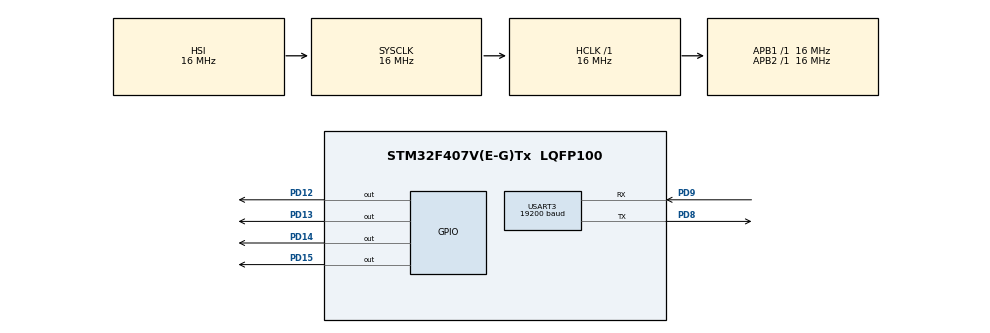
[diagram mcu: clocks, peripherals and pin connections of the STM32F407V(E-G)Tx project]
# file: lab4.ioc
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Mcu.Family=STM32F4
Mcu.Name=STM32F407V(E-G)Tx
Mcu.Package=LQFP100
NVIC.PriorityGroup=NVIC_PRIORITYGROUP_4
PD12.Signal=GPIO_Output
PD13.Signal=GPIO_Output
PD14.Signal=GPIO_Output
PD15.Signal=GPIO_Output
PD8.Mode=Asynchronous
PD8.Signal=USART3_TX
PD9.Mode=Asynchronous
PD9.Signal=USART3_RX
ProjectManager.HeapSize=0x200
ProjectManager.StackSize=0x400
ProjectManager.TargetToolchain=STM32CubeIDE
RCC.AHBFreq_Value=16000000
RCC.APB1Freq_Value=16000000
RCC.APB2Freq_Value=16000000
RCC.CortexFreq_Value=16000000
RCC.HSE_VALUE=25000000
RCC.HSI_VALUE=16000000
RCC.LSE_VALUE=32768
RCC.SYSCLKFreq_VALUE=16000000
RCC.VCOOutputFreq_Value=192000000
USART3.BaudRate=19200
USART3.VirtualMode=VM_ASYNC
board=custom

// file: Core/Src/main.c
/* USER CODE BEGIN Header */
/**
  ******************************************************************************
  * @file           : main.c
  * @brief          : Main program body
  ******************************************************************************
  * @attention
  *
  * Copyright (c) 2024 STMicroelectronics.
  * All rights reserved.
  *
  * This software is licensed under terms that can be found in the LICENSE file
  * in the root directory of this software component.
  * If no LICENSE file comes with this software, it is provided AS-IS.
  *
  ******************************************************************************
  */
/* USER CODE END Header */
#include "main.h"

UART_HandleTypeDef huart3;

void SystemClock_Config(void);
static void MX_GPIO_Init(void);
static void MX_USART3_UART_Init(void);

int main(void)
{

  /* MCU Configuration--------------------------------------------------------*/

  /* Reset of all peripherals, Initializes the Flash interface and the Systick. */
  HAL_Init();

  /* Configure the system clock */
  SystemClock_Config();

  /* Initialize all configured peripherals */
  MX_GPIO_Init();
  MX_USART3_UART_Init();

  /* Infinite loop */
  /* USER CODE BEGIN WHILE */
  while (1)
  {
	  uint8_t rcvBuf[1];
	  HAL_StatusTypeDef result;

	  result = HAL_UART_Receive(&huart3, rcvBuf, 1, 10);

	  if (result == HAL_OK) {
		  switch (rcvBuf[0]) {

		  	  case '1':
		  		  HAL_GPIO_WritePin(GPIOD, GPIO_PIN_12, GPIO_PIN_SET);
		  		  HAL_UART_Transmit(&huart3, (uint8_t *)" - GREEN ON\r\n", 13, 100);
		  		  break;
		  	  case '2':
		  		  HAL_GPIO_WritePin(GPIOD, GPIO_PIN_12, GPIO_PIN_RESET);
		  		  HAL_UART_Transmit(&huart3, (uint8_t *)" - GREEN OFF\r\n", 14, 100);
		  		  break;

		  	  case '3':
		  		HAL_GPIO_WritePin(GPIOD, GPIO_PIN_13, GPIO_PIN_SET);
		  		HAL_UART_Transmit(&huart3, (uint8_t *)" - ORANGE ON\r\n", 14, 100);
		  		break;
		  	  case '4':
		  		HAL_GPIO_WritePin(GPIOD, GPIO_PIN_13, GPIO_PIN_RESET);
		  		HAL_UART_Transmit(&huart3, (uint8_t *)" - ORANGE OFF\r\n", 15, 100);
		  		break;

		  	  case '5':
		  		HAL_GPIO_WritePin(GPIOD, GPIO_PIN_14, GPIO_PIN_SET);
		  		HAL_UART_Transmit(&huart3, (uint8_t *)" - RED ON\r\n", 11, 100);
		  		break;
		  	  case '6':
		  		HAL_GPIO_WritePin(GPIOD, GPIO_PIN_14, GPIO_PIN_RESET);
		  		HAL_UART_Transmit(&huart3, (uint8_t *)" - RED OFF\r\n", 12, 100);
		  		break;

		  	  case '7':
		  		  HAL_GPIO_WritePin(GPIOD, GPIO_PIN_15, GPIO_PIN_SET);
		  		  HAL_UART_Transmit(&huart3, (uint8_t *)" - BLUE ON\r\n", 12, 100);
		  		  break;
		  	  case '8':
		  		  HAL_GPIO_WritePin(GPIOD, GPIO_PIN_15, GPIO_PIN_RESET);
		  		  HAL_UART_Transmit(&huart3, (uint8_t *)" - BLUE OFF\r\n", 13, 100);
		  		  break;

		  	  case '9':
		  		HAL_GPIO_WritePin(GPIOD, GPIO_PIN_12, GPIO_PIN_SET);
		  		HAL_UART_Transmit(&huart3, (uint8_t *)"\n - GREEN ON\r\n", 14, 100);
		  		HAL_GPIO_WritePin(GPIOD, GPIO_PIN_13, GPIO_PIN_SET);
		  		HAL_UART_Transmit(&huart3, (uint8_t *)" - ORANGE ON\r\n", 14, 100);
		  		HAL_GPIO_WritePin(GPIOD, GPIO_PIN_14, GPIO_PIN_SET);
		  		HAL_UART_Transmit(&huart3, (uint8_t *)" - RED ON\r\n", 11, 100);
		  		HAL_GPIO_WritePin(GPIOD, GPIO_PIN_15, GPIO_PIN_SET);
		  		HAL_UART_Transmit(&huart3, (uint8_t *)" - BLUE ON\r\n", 12, 100);
		  		break;

		  	  case '0':
		  		HAL_GPIO_WritePin(GPIOD, GPIO_PIN_12, GPIO_PIN_RESET);
		  		HAL_UART_Transmit(&huart3, (uint8_t *)"\n - GREEN OFF\r\n", 15, 100);
		  		HAL_GPIO_WritePin(GPIOD, GPIO_PIN_13, GPIO_PIN_RESET);
		  		HAL_UART_Transmit(&huart3, (uint8_t *)" - ORANGE OFF\r\n", 15, 100);
		  		HAL_GPIO_WritePin(GPIOD, GPIO_PIN_14, GPIO_PIN_RESET);
		  		HAL_UART_Transmit(&huart3, (uint8_t *)" - RED OFF\r\n", 12, 100);
		  		HAL_GPIO_WritePin(GPIOD, GPIO_PIN_15, GPIO_PIN_RESET);
		  		HAL_UART_Transmit(&huart3, (uint8_t *)" - BLUE OFF\r\n", 13, 100);
		  		break;

		  	  default:
		  		  HAL_UART_Transmit(&huart3, (uint8_t *)" - UnexpCmd\r\n", 13, 100);
		  		  break;
		  }
	  }
    /* USER CODE END WHILE */

  }
}

void SystemClock_Config(void)
{
  RCC_OscInitTypeDef RCC_OscInitStruct = {0};
  RCC_ClkInitTypeDef RCC_ClkInitStruct = {0};

  /** Configure the main internal regulator output voltage
  */
  __HAL_RCC_PWR_CLK_ENABLE();
  __HAL_PWR_VOLTAGESCALING_CONFIG(PWR_REGULATOR_VOLTAGE_SCALE1);

  /** Initializes the RCC Oscillators according to the specified parameters
  * in the RCC_OscInitTypeDef structure.
  */
  RCC_OscInitStruct.OscillatorType = RCC_OSCILLATORTYPE_HSI;
  RCC_OscInitStruct.HSIState = RCC_HSI_ON;
  RCC_OscInitStruct.HSICalibrationValue = RCC_HSICALIBRATION_DEFAULT;
  RCC_OscInitStruct.PLL.PLLState = RCC_PLL_NONE;
  if (HAL_RCC_OscConfig(&RCC_OscInitStruct) != HAL_OK)
  {
    Error_Handler();
  }

  /** Initializes the CPU, AHB and APB buses clocks
  */
  RCC_ClkInitStruct.ClockType = RCC_CLOCKTYPE_HCLK|RCC_CLOCKTYPE_SYSCLK
                              |RCC_CLOCKTYPE_PCLK1|RCC_CLOCKTYPE_PCLK2;
  RCC_ClkInitStruct.SYSCLKSource = RCC_SYSCLKSOURCE_HSI;
  RCC_ClkInitStruct.AHBCLKDivider = RCC_SYSCLK_DIV1;
  RCC_ClkInitStruct.APB1CLKDivider = RCC_HCLK_DIV1;
  RCC_ClkInitStruct.APB2CLKDivider = RCC_HCLK_DIV1;

  if (HAL_RCC_ClockConfig(&RCC_ClkInitStruct, FLASH_LATENCY_0) != HAL_OK)
  {
    Error_Handler();
  }
}

static void MX_USART3_UART_Init(void)
{

  huart3.Instance = USART3;
  huart3.Init.BaudRate = 19200;
  huart3.Init.WordLength = UART_WORDLENGTH_8B;
  huart3.Init.StopBits = UART_STOPBITS_1;
  huart3.Init.Parity = UART_PARITY_NONE;
  huart3.Init.Mode = UART_MODE_TX_RX;
  huart3.Init.HwFlowCtl = UART_HWCONTROL_NONE;
  huart3.Init.OverSampling = UART_OVERSAMPLING_16;
  if (HAL_UART_Init(&huart3) != HAL_OK)
  {
    Error_Handler();
  }

}

static void MX_GPIO_Init(void)
{
  GPIO_InitTypeDef GPIO_InitStruct = {0};

  /* GPIO Ports Clock Enable */
  __HAL_RCC_GPIOD_CLK_ENABLE();

  /*Configure GPIO pin Output Level */
  HAL_GPIO_WritePin(GPIOD, GPIO_PIN_12|GPIO_PIN_13|GPIO_PIN_14|GPIO_PIN_15, GPIO_PIN_RESET);

  /*Configure GPIO pins : PD12 PD13 PD14 PD15 */
  GPIO_InitStruct.Pin = GPIO_PIN_12|GPIO_PIN_13|GPIO_PIN_14|GPIO_PIN_15;
  GPIO_InitStruct.Mode = GPIO_MODE_OUTPUT_PP;
  GPIO_InitStruct.Pull = GPIO_NOPULL;
  GPIO_InitStruct.Speed = GPIO_SPEED_FREQ_LOW;
  HAL_GPIO_Init(GPIOD, &GPIO_InitStruct);

}

void Error_Handler(void)
{
  __disable_irq();
  while (1)
  {
  }
}
